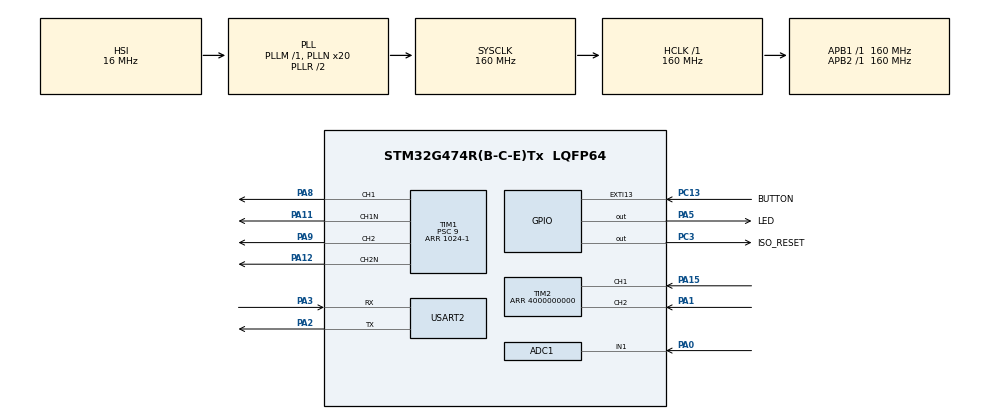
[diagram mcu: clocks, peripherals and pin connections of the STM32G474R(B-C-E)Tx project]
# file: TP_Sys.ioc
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ADC1.Channel-1\#ChannelRegularConversion=ADC_CHANNEL_1
ADC1.ContinuousConvMode=DISABLE
ADC1.DMAContinuousRequests=ENABLE
ADC1.ExternalTrigConv=ADC_EXTERNALTRIG_T1_TRGO
ADC1.NbrOfConversion=1
ADC1.NbrOfConversionFlag=1
ADC1.OffsetNumber-1\#ChannelRegularConversion=ADC_OFFSET_NONE
ADC1.Rank-1\#ChannelRegularConversion=1
ADC1.SamplingTime-1\#ChannelRegularConversion=ADC_SAMPLETIME_92CYCLES_5
ADC1.master=1
Dma.ADC1.0.Direction=DMA_PERIPH_TO_MEMORY
Dma.ADC1.0.EventEnable=DISABLE
Dma.ADC1.0.Instance=DMA1_Channel1
Dma.ADC1.0.MemDataAlignment=DMA_MDATAALIGN_HALFWORD
Dma.ADC1.0.MemInc=DMA_MINC_ENABLE
Dma.ADC1.0.Mode=DMA_CIRCULAR
Dma.ADC1.0.PeriphDataAlignment=DMA_PDATAALIGN_HALFWORD
Dma.ADC1.0.PeriphInc=DMA_PINC_DISABLE
Dma.ADC1.0.Polarity=HAL_DMAMUX_REQ_GEN_RISING
Dma.ADC1.0.Priority=DMA_PRIORITY_MEDIUM
Dma.ADC1.0.RequestNumber=1
Dma.ADC1.0.SignalID=NONE
Dma.ADC1.0.SyncEnable=DISABLE
Dma.ADC1.0.SyncPolarity=HAL_DMAMUX_SYNC_NO_EVENT
Dma.ADC1.0.SyncRequestNumber=1
Dma.ADC1.0.SyncSignalID=NONE
Dma.Request0=ADC1
Mcu.Family=STM32G4
Mcu.Name=STM32G474R(B-C-E)Tx
Mcu.Package=LQFP64
NVIC.DMA1_Channel1_IRQn=true\:0\:0\:false\:false\:true\:false\:true\:true
NVIC.EXTI15_10_IRQn=true\:0\:0\:false\:false\:true\:true\:true\:true
NVIC.PriorityGroup=NVIC_PRIORITYGROUP_4
NVIC.TIM2_IRQn=true\:0\:0\:false\:false\:true\:true\:true\:true
NVIC.TIM3_IRQn=true\:0\:0\:false\:false\:true\:true\:true\:true
NVIC.USART2_IRQn=true\:0\:0\:false\:false\:true\:true\:true\:true
PA0.Mode=IN1-Single-Ended
PA0.Signal=ADC1_IN1
PA1.Signal=S_TIM2_CH2
PA11.Mode=PWM Generation1 CH1 CH1N
PA11.Signal=TIM1_CH1N
PA12.Mode=PWM Generation2 CH2 CH2N
PA12.Signal=TIM1_CH2N
PA13.GPIO_Label=T_SWDIO
PA13.Mode=Serial_Wire
PA13.Signal=SYS_JTMS-SWDIO
PA14.GPIO_Label=T_SWCLK
PA14.Mode=Serial_Wire
PA14.Signal=SYS_JTCK-SWCLK
PA15.Signal=S_TIM2_CH1
PA2.Mode=Asynchronous
PA2.Signal=USART2_TX
PA3.Mode=Asynchronous
PA3.Signal=USART2_RX
PA5.GPIO_Label=LED
PA5.Signal=GPIO_Output
PA8.Signal=S_TIM1_CH1
PA9.Signal=S_TIM1_CH2
PC13.GPIO_Label=BUTTON
PC13.Signal=GPXTI13
PC14-OSC32_IN.Mode=LSE-External-Oscillator
PC14-OSC32_IN.Signal=RCC_OSC32_IN
PC15-OSC32_OUT.Mode=LSE-External-Oscillator
PC15-OSC32_OUT.Signal=RCC_OSC32_OUT
PC3.GPIO_Label=ISO_RESET
PC3.Signal=GPIO_Output
PF0-OSC_IN.Mode=HSE-External-Oscillator
PF0-OSC_IN.Signal=RCC_OSC_IN
PF1-OSC_OUT.Mode=HSE-External-Oscillator
PF1-OSC_OUT.Signal=RCC_OSC_OUT
ProjectManager.HeapSize=0x200
ProjectManager.StackSize=0x400
ProjectManager.TargetToolchain=STM32CubeIDE
RCC.ADC12Freq_Value=160000000
RCC.ADC345Freq_Value=160000000
RCC.AHBFreq_Value=160000000
RCC.APB1Freq_Value=160000000
RCC.APB1TimFreq_Value=160000000
RCC.APB2Freq_Value=160000000
RCC.APB2TimFreq_Value=160000000
RCC.CortexFreq_Value=160000000
RCC.EXTERNAL_CLOCK_VALUE=12288000
RCC.HCLKFreq_Value=160000000
RCC.HSE_VALUE=24000000
RCC.HSI48_VALUE=48000000
RCC.HSI_VALUE=16000000
RCC.PLLN=20
RCC.RTCClockSelection=RCC_RTCCLKSOURCE_LSE
RCC.SYSCLKFreq_VALUE=160000000
RCC.SYSCLKSource=RCC_SYSCLKSOURCE_PLLCLK
RCC.USBFreq_Value=160000000
RCC.VCOOutputFreq_Value=320000000
SH.S_TIM1_CH1.0=TIM1_CH1,PWM Generation1 CH1 CH1N
SH.S_TIM1_CH2.0=TIM1_CH2,PWM Generation2 CH2 CH2N
SH.S_TIM2_CH1.0=TIM2_CH1,Encoder_Interface
SH.S_TIM2_CH2.0=TIM2_CH2,Encoder_Interface
TIM1.AutoReloadPreload=TIM_AUTORELOAD_PRELOAD_ENABLE
TIM1.Channel-PWM\ Generation1\ CH1\ CH1N=TIM_CHANNEL_1
TIM1.Channel-PWM\ Generation2\ CH2\ CH2N=TIM_CHANNEL_2
TIM1.CounterMode=TIM_COUNTERMODE_CENTERALIGNED1
TIM1.DeadTime=200
TIM1.PeriodNoDither=1024-1
TIM1.Prescaler=9
TIM1.PulseNoDither_1=512
TIM1.PulseNoDither_2=256
TIM1.TIM_MasterOutputTrigger=TIM_TRGO_UPDATE
TIM1.TIM_MasterSlaveMode=TIM_MASTERSLAVEMODE_ENABLE
TIM2.AutoReloadPreload=TIM_AUTORELOAD_PRELOAD_ENABLE
TIM2.EncoderMode=TIM_ENCODERMODE_TI12
TIM2.IC2Polarity=TIM_ICPOLARITY_RISING
TIM2.PeriodNoDither=4000000000
TIM2.SMS_Preload_Activation=DISABLE
TIM3.PeriodNoDither=16999
TIM3.Prescaler=999
USART2.VirtualMode-Asynchronous=VM_ASYNC
VP_SYS_VS_DBSignals.Mode=DisableDeadBatterySignals
VP_TIM1_VS_ClockSourceINT.Mode=Internal
VP_TIM2_VS_OPM.Mode=OPM_bit
VP_TIM3_VS_ClockSourceINT.Mode=Internal
board=NUCLEO-G474RE

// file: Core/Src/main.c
/* USER CODE BEGIN Header */
/**
 ******************************************************************************
 * @file           : main.c
 * @brief          : Main program body
 ******************************************************************************
 * @attention
 *
 * Copyright (c) 2022 STMicroelectronics.
 * All rights reserved.
 *
 * This software is licensed under terms that can be found in the LICENSE file
 * in the root directory of this software component.
 * If no LICENSE file comes with this software, it is provided AS-IS.
 *
 ******************************************************************************
 */
/* USER CODE END Header */
#include "main.h"
#include "corrPI.h"
#include "commandeMCC.h"

/* USER CODE BEGIN Includes */
#include <stdio.h>
#include <stdlib.h>
#include <string.h>
/* USER CODE END Includes */

/* USER CODE BEGIN PD */
#define UART_TX_BUFFER_SIZE 64
#define UART_RX_BUFFER_SIZE 1
#define CMD_BUFFER_SIZE 64
#define MAX_ARGS 9
// LF = line feed, saut de ligne
#define ASCII_LF 0x0A
// CR = carriage return, retour chariot
#define ASCII_CR 0x0D
// DEL = delete
#define ASCII_DEL 0x7F
#define ARR_VAL 1024
#define ALPHA 600 /** Rapport cyclique permettant de gérer les PWM entre 0 et 1023 */
/* USER CODE END PD */

ADC_HandleTypeDef hadc1;
DMA_HandleTypeDef hdma_adc1;

TIM_HandleTypeDef htim1;
TIM_HandleTypeDef htim2;
TIM_HandleTypeDef htim3;

UART_HandleTypeDef huart2;

/* USER CODE BEGIN PV */

uint8_t adcDmaFlag = 0;
uint32_t adcRawValue[1];
uint8_t prompt[]="user@Nucleo-STM32G474>>";
uint8_t started[]=
		"\r\n*-----------------------------*"
		"\r\n| Welcome on Nucleo-STM32G474 |"
		"\r\n*-----------------------------*"
		"\r\n";
uint8_t newline[]="\r\n";
uint8_t cmdNotFound[]="Command not found\r\n";
uint32_t uartRxReceived;
uint8_t uartRxBuffer[UART_RX_BUFFER_SIZE];
uint8_t uartTxBuffer[UART_TX_BUFFER_SIZE];
uint8_t powerOn[]="Allumage du moteur\r\n";
uint8_t powerOff[]="Extinction du moteur\r\n";
int a; //alpha dans la fonction alpha*
int adcValue; /** Valeure de courant relevée après convertion en ampères*/
long vitesse;
int PIFlag;
int PIUpdateFlag;
float i_n[2]; //{i_0, i_-1}
float w_n[2]; //{w_0, w_-1}
float i_consigne;
float v_consigne;
#define KP_ALPHA 0.10	//0.0039
#define KI_ALPHA 0.8	//1.74

#define ALPHA_OUT_MAX_VALUE 0.99
#define ALPHA_OUT_MIN_VALUE 0.01

#define TIM1_PERIOD 0.0000625

// PI Vitesse
#define KP_CURRENT 0.1		//empirique0.1	//matlab0.72
#define KI_CURRENT 2.0	//empirique0.1	//matlab15.94

#define CURRENT_OUT_MAX_VALUE	2.0

#define TIM3_PERIOD 0.1
#define TIM4_PERIOD 0.0064

#define TICK2SPEED_TIM3 0.0146 // 60/4096/TimerDelay    avec TimerDelay(en sec)
#define TICK2SPEED_TIM4 (60.0/4096.0)/TIM4_PERIOD

uint16_t AD_RES = 0;
/*
const uint8_t help[] : contenant le message d'aide, la liste des fonctions
const uint8_t pinout[] : contenant la liste des pin utilisées
 */
//SHELL_____________________________________________________________________
char	 	cmdBuffer[CMD_BUFFER_SIZE];
int 		idx_cmd;
char* 		argv[MAX_ARGS];
int		 	argc = 0;
char*		token;
int 		newCmdReady = 0;
/* USER CODE END PV */

void SystemClock_Config(void);
static void MX_GPIO_Init(void);
static void MX_DMA_Init(void);
static void MX_TIM1_Init(void);
static void MX_USART2_UART_Init(void);
static void MX_ADC1_Init(void);
static void MX_TIM2_Init(void);
static void MX_TIM3_Init(void);

/* USER CODE BEGIN 0 */

// Nouvelle ligne, instruction à traiter
void newcom(void)
{
	HAL_UART_Transmit(&huart2, newline, sizeof(newline), HAL_MAX_DELAY);
	//select();
	cmdBuffer[idx_cmd] = '\0';
	argc = 0;
	token = strtok(cmdBuffer, " ");
	while(token!=NULL){
		argv[argc++] = token;
		token = strtok(NULL, " ");
	}

	idx_cmd = 0;
	newCmdReady = 1;
}

// Suppression du dernier caractère
/** Supprime le dernier caractère après avoir appuyé sur BackSpace */
void delete(void)
		{
	cmdBuffer[idx_cmd--] = '\0';
	HAL_UART_Transmit(&huart2, uartRxBuffer, UART_RX_BUFFER_SIZE, HAL_MAX_DELAY);
		}

// Nouveau caractère
/** Ecrit le caractère tapé dans la console */
void new_carac(void)
{
	cmdBuffer[idx_cmd++] = uartRxBuffer[0];
	HAL_UART_Transmit(&huart2, uartRxBuffer, UART_RX_BUFFER_SIZE, HAL_MAX_DELAY);//Echo
}

void get(void)
{
	HAL_UART_Transmit(&huart2, cmdNotFound, sizeof(cmdNotFound), HAL_MAX_DELAY);
}

void set(void)
{
	if(strcmp(argv[1],"PA5")==0)
	{
		HAL_GPIO_WritePin(LED_GPIO_Port, LED_Pin, atoi(argv[2]));
		sprintf(uartTxBuffer,"Switch on/off led : %d\r\n",atoi(argv[2]));
		HAL_UART_Transmit(&huart2, uartTxBuffer, 32, HAL_MAX_DELAY);
	}
	else{
		HAL_UART_Transmit(&huart2, cmdNotFound, sizeof(cmdNotFound), HAL_MAX_DELAY);
	}
}
/**
 * @brief Présente les fonctions et leur utilités dans la console
 *
 */
void help(void)
{
	sprintf(uartTxBuffer, "HELP : Fonctions available :\r\n");
	HAL_UART_Transmit(&huart2, uartTxBuffer, sizeof(uartTxBuffer), HAL_MAX_DELAY);
	sprintf(uartTxBuffer, "- pinout : affiche toutes les broches connectées\r\n");
	HAL_UART_Transmit(&huart2, uartTxBuffer, sizeof(uartTxBuffer), HAL_MAX_DELAY);
	sprintf(uartTxBuffer, "- start : allume l'étage de puissance du moteur\r\n");
	HAL_UART_Transmit(&huart2, uartTxBuffer, sizeof(uartTxBuffer), HAL_MAX_DELAY);
	sprintf(uartTxBuffer, "- stop : éteind l'étage de puissance du moteur\r\n");
	HAL_UART_Transmit(&huart2, uartTxBuffer, sizeof(uartTxBuffer), HAL_MAX_DELAY);
	sprintf(uartTxBuffer, "- alpha : fixe la valeur du rapport cyclique\r\n");
	HAL_UART_Transmit(&huart2, uartTxBuffer, sizeof(uartTxBuffer), HAL_MAX_DELAY);
}
/**
 * @brief Initialise le hacheur et lance les PWM avec alpha = 50%
 *
 */
void start(void)
{
	//séquence d'initialisation
	HAL_GPIO_WritePin(ISO_RESET_GPIO_Port, ISO_RESET_Pin, SET);
	HAL_Delay(10);
	HAL_GPIO_WritePin(ISO_RESET_GPIO_Port, ISO_RESET_Pin, RESET);
	//HAL_Delay(5);

	HAL_UART_Transmit(&huart2, powerOn, sizeof(powerOn), HAL_MAX_DELAY);
	HAL_TIM_Base_Start(&htim1);
	HAL_TIM_PWM_Start(&htim1, TIM_CHANNEL_1);
	HAL_TIM_PWM_Start(&htim1, TIM_CHANNEL_2);
	HAL_TIMEx_PWMN_Start(&htim1, TIM_CHANNEL_1);
	HAL_TIMEx_PWMN_Start(&htim1, TIM_CHANNEL_2);
	a = atoi(argv[1]);
	a = ARR_VAL*a/100;
	TIM1->CCR1=ARR_VAL-a;
	TIM1->CCR2=a;
}
/**
 * @brief Arrête les moteurs
 *
 */
void stop(void)
{
	HAL_UART_Transmit(&huart2, powerOff, sizeof(powerOff), HAL_MAX_DELAY);
	TIM1->CCR1 = ARR_VAL/2;
	TIM1->CCR2 = 1 - ARR_VAL/2;
	HAL_TIM_Base_Stop(&htim1);
	HAL_TIM_PWM_Stop(&htim1, TIM_CHANNEL_1);
	HAL_TIM_PWM_Stop(&htim1, TIM_CHANNEL_2);
	HAL_TIMEx_PWMN_Stop(&htim1, TIM_CHANNEL_1);
	HAL_TIMEx_PWMN_Stop(&htim1, TIM_CHANNEL_2);
	HAL_Delay(5);
	HAL_GPIO_WritePin(ISO_RESET_GPIO_Port, ISO_RESET_Pin, RESET);
}
/**
 * @brief Règle le rapport cyclique des PWM, avec une valeur entre 0 et 100%
 *
 */
void speed(void)
{
	a = atoi(argv[1]);
	a = ARR_VAL*a/100;
	TIM1->CCR1=ARR_VAL-a;
	TIM1->CCR2=a;
}

void changeSpeed(int a)
{
	a = ARR_VAL*a/100;
	TIM1->CCR1=ARR_VAL-a;
	TIM1->CCR2=a;
}

/**
 * @brief Permet de réinitialiser le flag adcDmaFlag après l'éxecution automatique de l'interruption dans le shell
 *
 * @param hadc
 */
void HAL_ADC_ConvCpltCallback(ADC_HandleTypeDef* hadc)
{
	adcDmaFlag = 1;
}

/* USER CODE END 0 */

/**
  * @brief  Lance le Shell et initialise les périphériques
  *
  */
int main(void)
{
  /* USER CODE BEGIN 1 */

	/* Correcteur pour vitesse */
	PIController alphaPI;
	PIController_Init(&alphaPI);

	  alphaPI.Kp = KP_ALPHA;
	  alphaPI.Ki = KI_ALPHA;

	  alphaPI.T = TIM3_PERIOD;

	  alphaPI.integrator = 0.5;

	  alphaPI.limMax_integrator = ALPHA_OUT_MAX_VALUE;
	  alphaPI.limMin_integrator = ALPHA_OUT_MIN_VALUE;

	  alphaPI.limMax_output = ALPHA_OUT_MAX_VALUE;
	  alphaPI.limMin_output = ALPHA_OUT_MIN_VALUE;

	  /* Correcteur pour courant */
	  PIController currentPI;
	  PIController_Init(&currentPI);

	   currentPI.Kp = KP_CURRENT;
	   currentPI.Ki = KI_CURRENT;

	   currentPI.T = TIM3_PERIOD;

	   currentPI.limMax_integrator = CURRENT_OUT_MAX_VALUE;
	   currentPI.limMin_integrator = -CURRENT_OUT_MAX_VALUE;

	   currentPI.limMax_output = CURRENT_OUT_MAX_VALUE;
	   currentPI.limMin_output = -CURRENT_OUT_MAX_VALUE;
  /* USER CODE END 1 */

  /* MCU Configuration--------------------------------------------------------*/

  /* Reset of all peripherals, Initializes the Flash interface and the Systick. */
  HAL_Init();

  /* Configure the system clock */
  SystemClock_Config();

  /* Initialize all configured peripherals */
  MX_GPIO_Init();
  MX_DMA_Init();
  MX_TIM1_Init();
  MX_USART2_UART_Init();
  MX_ADC1_Init();
  MX_TIM2_Init();
  MX_TIM3_Init();
  /* USER CODE BEGIN 2 */
  	HAL_TIM_Base_Start_IT(&htim3);
  	HAL_TIM_Base_Start(&htim2);
  	HAL_TIM_Encoder_Start(&htim2, TIM_CHANNEL_ALL);
	memset(argv,NULL,MAX_ARGS*sizeof(char*));
	memset(cmdBuffer,NULL,CMD_BUFFER_SIZE*sizeof(char));
	memset(uartRxBuffer,NULL,UART_RX_BUFFER_SIZE*sizeof(char));
	memset(uartTxBuffer,NULL,UART_TX_BUFFER_SIZE*sizeof(char));
	HAL_ADCEx_Calibration_Start(&hadc1, ADC_SINGLE_ENDED);
	HAL_ADC_Start_DMA(&hadc1, adcRawValue, 1);
	HAL_UART_Receive_IT(&huart2, uartRxBuffer, UART_RX_BUFFER_SIZE);
	HAL_Delay(10);
	HAL_UART_Transmit(&huart2, started, sizeof(started), HAL_MAX_DELAY);
	HAL_UART_Transmit(&huart2, prompt, sizeof(prompt), HAL_MAX_DELAY);

  /* USER CODE END 2 */

  /* Infinite loop */
  /* USER CODE BEGIN WHILE */
	while (1)
	{

		// uartRxReceived is set to 1 when a new character is received on uart 1
		if(uartRxReceived){
			switch(uartRxBuffer[0]){
			// Nouvelle ligne, instruction à traiter
			case ASCII_CR:
				newcom();
				break;
				// Suppression du dernier caractère
			case ASCII_DEL:
				delete();
				break;
				// Nouveau caractère
			default:
				new_carac();
			}
			uartRxReceived = 0;
		}

		if(newCmdReady){
			if(strcmp(argv[0],"set")==0){
				set();
			}
			else if(strcmp(argv[0],"get")==0)
			{
				get();
			}
			else if(strcmp(argv[0],"help")==0)
			{
				help();
			}
			else if(strcmp(argv[0],"start")==0)
			{
				start();
			}
			else if(strcmp(argv[0],"stop")==0)
			{
				stop();
			}
			else if(strcmp(argv[0],"speed")==0)
			{
				speed();
			}
			else{
				HAL_UART_Transmit(&huart2, cmdNotFound, sizeof(cmdNotFound), HAL_MAX_DELAY);
			}
			HAL_UART_Transmit(&huart2, prompt, sizeof(prompt), HAL_MAX_DELAY);
			newCmdReady = 0;
			memset(cmdBuffer,NULL,CMD_BUFFER_SIZE*sizeof(char));
		}

		if(PIUpdateFlag){/* Permet d'afficher la vitesse et le courant lorsque l'adc/dma ont finit leur mesure */
			vitesse = (TIM2->CNT)-(TIM2->ARR/2);
			TIM2->CNT = TIM2->ARR/2;
			adcValue = 12*(2.51-((((float)adcRawValue[0])*3.3/4096))); /* Calcul pour convertir la valeur binaire de l'adc en amperes */
			vitesse = (float)vitesse/10.55; /* Calcul pour convertir la valeur en ticks de la vitesse en tours/minutes */

			if(PIFlag){
				PIController_Update(&alphaPI, i_consigne, adcValue);
				changeSpeed((int)(alphaPI.out*100));
				PIFlag = 0;
			}
			else{
				if(!PIFlag){
					PIController_Update(&currentPI, v_consigne, vitesse);
					i_consigne = currentPI.out;
					PIFlag = 1;
				}
			}
			PIUpdateFlag = 0;
		}

    /* USER CODE END WHILE */

	}
}

void SystemClock_Config(void)
{
  RCC_OscInitTypeDef RCC_OscInitStruct = {0};
  RCC_ClkInitTypeDef RCC_ClkInitStruct = {0};

  /** Configure the main internal regulator output voltage
  */
  HAL_PWREx_ControlVoltageScaling(PWR_REGULATOR_VOLTAGE_SCALE1_BOOST);

  /** Initializes the RCC Oscillators according to the specified parameters
  * in the RCC_OscInitTypeDef structure.
  */
  RCC_OscInitStruct.OscillatorType = RCC_OSCILLATORTYPE_HSI;
  RCC_OscInitStruct.HSIState = RCC_HSI_ON;
  RCC_OscInitStruct.HSICalibrationValue = RCC_HSICALIBRATION_DEFAULT;
  RCC_OscInitStruct.PLL.PLLState = RCC_PLL_ON;
  RCC_OscInitStruct.PLL.PLLSource = RCC_PLLSOURCE_HSI;
  RCC_OscInitStruct.PLL.PLLM = RCC_PLLM_DIV1;
  RCC_OscInitStruct.PLL.PLLN = 20;
  RCC_OscInitStruct.PLL.PLLP = RCC_PLLP_DIV2;
  RCC_OscInitStruct.PLL.PLLQ = RCC_PLLQ_DIV2;
  RCC_OscInitStruct.PLL.PLLR = RCC_PLLR_DIV2;
  if (HAL_RCC_OscConfig(&RCC_OscInitStruct) != HAL_OK)
  {
    Error_Handler();
  }

  /** Initializes the CPU, AHB and APB buses clocks
  */
  RCC_ClkInitStruct.ClockType = RCC_CLOCKTYPE_HCLK|RCC_CLOCKTYPE_SYSCLK
                              |RCC_CLOCKTYPE_PCLK1|RCC_CLOCKTYPE_PCLK2;
  RCC_ClkInitStruct.SYSCLKSource = RCC_SYSCLKSOURCE_PLLCLK;
  RCC_ClkInitStruct.AHBCLKDivider = RCC_SYSCLK_DIV1;
  RCC_ClkInitStruct.APB1CLKDivider = RCC_HCLK_DIV1;
  RCC_ClkInitStruct.APB2CLKDivider = RCC_HCLK_DIV1;

  if (HAL_RCC_ClockConfig(&RCC_ClkInitStruct, FLASH_LATENCY_4) != HAL_OK)
  {
    Error_Handler();
  }
}

static void MX_ADC1_Init(void)
{

  ADC_MultiModeTypeDef multimode = {0};
  ADC_ChannelConfTypeDef sConfig = {0};

  /** Common config
  */
  hadc1.Instance = ADC1;
  hadc1.Init.ClockPrescaler = ADC_CLOCK_SYNC_PCLK_DIV4;
  hadc1.Init.Resolution = ADC_RESOLUTION_12B;
  hadc1.Init.DataAlign = ADC_DATAALIGN_RIGHT;
  hadc1.Init.GainCompensation = 0;
  hadc1.Init.ScanConvMode = ADC_SCAN_DISABLE;
  hadc1.Init.EOCSelection = ADC_EOC_SINGLE_CONV;
  hadc1.Init.LowPowerAutoWait = DISABLE;
  hadc1.Init.ContinuousConvMode = DISABLE;
  hadc1.Init.NbrOfConversion = 1;
  hadc1.Init.DiscontinuousConvMode = DISABLE;
  hadc1.Init.ExternalTrigConv = ADC_EXTERNALTRIG_T1_TRGO;
  hadc1.Init.ExternalTrigConvEdge = ADC_EXTERNALTRIGCONVEDGE_RISING;
  hadc1.Init.DMAContinuousRequests = ENABLE;
  hadc1.Init.Overrun = ADC_OVR_DATA_PRESERVED;
  hadc1.Init.OversamplingMode = DISABLE;
  if (HAL_ADC_Init(&hadc1) != HAL_OK)
  {
    Error_Handler();
  }

  /** Configure the ADC multi-mode
  */
  multimode.Mode = ADC_MODE_INDEPENDENT;
  if (HAL_ADCEx_MultiModeConfigChannel(&hadc1, &multimode) != HAL_OK)
  {
    Error_Handler();
  }

  /** Configure Regular Channel
  */
  sConfig.Channel = ADC_CHANNEL_1;
  sConfig.Rank = ADC_REGULAR_RANK_1;
  sConfig.SamplingTime = ADC_SAMPLETIME_92CYCLES_5;
  sConfig.SingleDiff = ADC_SINGLE_ENDED;
  sConfig.OffsetNumber = ADC_OFFSET_NONE;
  sConfig.Offset = 0;
  if (HAL_ADC_ConfigChannel(&hadc1, &sConfig) != HAL_OK)
  {
    Error_Handler();
  }

}

static void MX_TIM1_Init(void)
{

  TIM_ClockConfigTypeDef sClockSourceConfig = {0};
  TIM_MasterConfigTypeDef sMasterConfig = {0};
  TIM_OC_InitTypeDef sConfigOC = {0};
  TIM_BreakDeadTimeConfigTypeDef sBreakDeadTimeConfig = {0};

  htim1.Instance = TIM1;
  htim1.Init.Prescaler = 9;
  htim1.Init.CounterMode = TIM_COUNTERMODE_CENTERALIGNED1;
  htim1.Init.Period = 1023;
  htim1.Init.ClockDivision = TIM_CLOCKDIVISION_DIV1;
  htim1.Init.RepetitionCounter = 0;
  htim1.Init.AutoReloadPreload = TIM_AUTORELOAD_PRELOAD_ENABLE;
  if (HAL_TIM_Base_Init(&htim1) != HAL_OK)
  {
    Error_Handler();
  }
  sClockSourceConfig.ClockSource = TIM_CLOCKSOURCE_INTERNAL;
  if (HAL_TIM_ConfigClockSource(&htim1, &sClockSourceConfig) != HAL_OK)
  {
    Error_Handler();
  }
  if (HAL_TIM_PWM_Init(&htim1) != HAL_OK)
  {
    Error_Handler();
  }
  sMasterConfig.MasterOutputTrigger = TIM_TRGO_UPDATE;
  sMasterConfig.MasterOutputTrigger2 = TIM_TRGO2_RESET;
  sMasterConfig.MasterSlaveMode = TIM_MASTERSLAVEMODE_ENABLE;
  if (HAL_TIMEx_MasterConfigSynchronization(&htim1, &sMasterConfig) != HAL_OK)
  {
    Error_Handler();
  }
  sConfigOC.OCMode = TIM_OCMODE_PWM1;
  sConfigOC.Pulse = 512;
  sConfigOC.OCPolarity = TIM_OCPOLARITY_HIGH;
  sConfigOC.OCNPolarity = TIM_OCNPOLARITY_HIGH;
  sConfigOC.OCFastMode = TIM_OCFAST_DISABLE;
  sConfigOC.OCIdleState = TIM_OCIDLESTATE_RESET;
  sConfigOC.OCNIdleState = TIM_OCNIDLESTATE_RESET;
  if (HAL_TIM_PWM_ConfigChannel(&htim1, &sConfigOC, TIM_CHANNEL_1) != HAL_OK)
  {
    Error_Handler();
  }
  sConfigOC.Pulse = 256;
  if (HAL_TIM_PWM_ConfigChannel(&htim1, &sConfigOC, TIM_CHANNEL_2) != HAL_OK)
  {
    Error_Handler();
  }
  sBreakDeadTimeConfig.OffStateRunMode = TIM_OSSR_DISABLE;
  sBreakDeadTimeConfig.OffStateIDLEMode = TIM_OSSI_DISABLE;
  sBreakDeadTimeConfig.LockLevel = TIM_LOCKLEVEL_OFF;
  sBreakDeadTimeConfig.DeadTime = 200;
  sBreakDeadTimeConfig.BreakState = TIM_BREAK_DISABLE;
  sBreakDeadTimeConfig.BreakPolarity = TIM_BREAKPOLARITY_HIGH;
  sBreakDeadTimeConfig.BreakFilter = 0;
  sBreakDeadTimeConfig.BreakAFMode = TIM_BREAK_AFMODE_INPUT;
  sBreakDeadTimeConfig.Break2State = TIM_BREAK2_DISABLE;
  sBreakDeadTimeConfig.Break2Polarity = TIM_BREAK2POLARITY_HIGH;
  sBreakDeadTimeConfig.Break2Filter = 0;
  sBreakDeadTimeConfig.Break2AFMode = TIM_BREAK_AFMODE_INPUT;
  sBreakDeadTimeConfig.AutomaticOutput = TIM_AUTOMATICOUTPUT_DISABLE;
  if (HAL_TIMEx_ConfigBreakDeadTime(&htim1, &sBreakDeadTimeConfig) != HAL_OK)
  {
    Error_Handler();
  }
  HAL_TIM_MspPostInit(&htim1);

}

static void MX_TIM2_Init(void)
{

  TIM_Encoder_InitTypeDef sConfig = {0};
  TIM_MasterConfigTypeDef sMasterConfig = {0};

  htim2.Instance = TIM2;
  htim2.Init.Prescaler = 0;
  htim2.Init.CounterMode = TIM_COUNTERMODE_UP;
  htim2.Init.Period = 4.0E9;
  htim2.Init.ClockDivision = TIM_CLOCKDIVISION_DIV1;
  htim2.Init.AutoReloadPreload = TIM_AUTORELOAD_PRELOAD_ENABLE;
  sConfig.EncoderMode = TIM_ENCODERMODE_TI12;
  sConfig.IC1Polarity = TIM_ICPOLARITY_RISING;
  sConfig.IC1Selection = TIM_ICSELECTION_DIRECTTI;
  sConfig.IC1Prescaler = TIM_ICPSC_DIV1;
  sConfig.IC1Filter = 0;
  sConfig.IC2Polarity = TIM_ICPOLARITY_RISING;
  sConfig.IC2Selection = TIM_ICSELECTION_DIRECTTI;
  sConfig.IC2Prescaler = TIM_ICPSC_DIV1;
  sConfig.IC2Filter = 0;
  if (HAL_TIM_Encoder_Init(&htim2, &sConfig) != HAL_OK)
  {
    Error_Handler();
  }
  if (HAL_TIM_OnePulse_Init(&htim2, TIM_OPMODE_SINGLE) != HAL_OK)
  {
    Error_Handler();
  }
  sMasterConfig.MasterOutputTrigger = TIM_TRGO_RESET;
  sMasterConfig.MasterSlaveMode = TIM_MASTERSLAVEMODE_DISABLE;
  if (HAL_TIMEx_MasterConfigSynchronization(&htim2, &sMasterConfig) != HAL_OK)
  {
    Error_Handler();
  }

}

static void MX_TIM3_Init(void)
{

  TIM_ClockConfigTypeDef sClockSourceConfig = {0};
  TIM_MasterConfigTypeDef sMasterConfig = {0};

  htim3.Instance = TIM3;
  htim3.Init.Prescaler = 999;
  htim3.Init.CounterMode = TIM_COUNTERMODE_UP;
  htim3.Init.Period = 15999;
  htim3.Init.ClockDivision = TIM_CLOCKDIVISION_DIV1;
  htim3.Init.AutoReloadPreload = TIM_AUTORELOAD_PRELOAD_DISABLE;
  if (HAL_TIM_Base_Init(&htim3) != HAL_OK)
  {
    Error_Handler();
  }
  sClockSourceConfig.ClockSource = TIM_CLOCKSOURCE_INTERNAL;
  if (HAL_TIM_ConfigClockSource(&htim3, &sClockSourceConfig) != HAL_OK)
  {
    Error_Handler();
  }
  sMasterConfig.MasterOutputTrigger = TIM_TRGO_RESET;
  sMasterConfig.MasterSlaveMode = TIM_MASTERSLAVEMODE_DISABLE;
  if (HAL_TIMEx_MasterConfigSynchronization(&htim3, &sMasterConfig) != HAL_OK)
  {
    Error_Handler();
  }

}

static void MX_USART2_UART_Init(void)
{

  huart2.Instance = USART2;
  huart2.Init.BaudRate = 115200;
  huart2.Init.WordLength = UART_WORDLENGTH_8B;
  huart2.Init.StopBits = UART_STOPBITS_1;
  huart2.Init.Parity = UART_PARITY_NONE;
  huart2.Init.Mode = UART_MODE_TX_RX;
  huart2.Init.HwFlowCtl = UART_HWCONTROL_NONE;
  huart2.Init.OverSampling = UART_OVERSAMPLING_16;
  huart2.Init.OneBitSampling = UART_ONE_BIT_SAMPLE_DISABLE;
  huart2.Init.ClockPrescaler = UART_PRESCALER_DIV1;
  huart2.AdvancedInit.AdvFeatureInit = UART_ADVFEATURE_NO_INIT;
  if (HAL_UART_Init(&huart2) != HAL_OK)
  {
    Error_Handler();
  }
  if (HAL_UARTEx_SetTxFifoThreshold(&huart2, UART_TXFIFO_THRESHOLD_1_8) != HAL_OK)
  {
    Error_Handler();
  }
  if (HAL_UARTEx_SetRxFifoThreshold(&huart2, UART_RXFIFO_THRESHOLD_1_8) != HAL_OK)
  {
    Error_Handler();
  }
  if (HAL_UARTEx_DisableFifoMode(&huart2) != HAL_OK)
  {
    Error_Handler();
  }

}

static void MX_DMA_Init(void)
{

  /* DMA controller clock enable */
  __HAL_RCC_DMAMUX1_CLK_ENABLE();
  __HAL_RCC_DMA1_CLK_ENABLE();

  /* DMA interrupt init */
  /* DMA1_Channel1_IRQn interrupt configuration */
  HAL_NVIC_SetPriority(DMA1_Channel1_IRQn, 0, 0);
  HAL_NVIC_EnableIRQ(DMA1_Channel1_IRQn);

}

static void MX_GPIO_Init(void)
{
  GPIO_InitTypeDef GPIO_InitStruct = {0};

  /* GPIO Ports Clock Enable */
  __HAL_RCC_GPIOC_CLK_ENABLE();
  __HAL_RCC_GPIOF_CLK_ENABLE();
  __HAL_RCC_GPIOA_CLK_ENABLE();

  /*Configure GPIO pin Output Level */
  HAL_GPIO_WritePin(ISO_RESET_GPIO_Port, ISO_RESET_Pin, GPIO_PIN_RESET);

  /*Configure GPIO pin Output Level */
  HAL_GPIO_WritePin(LED_GPIO_Port, LED_Pin, GPIO_PIN_RESET);

  /*Configure GPIO pin : BUTTON_Pin */
  GPIO_InitStruct.Pin = BUTTON_Pin;
  GPIO_InitStruct.Mode = GPIO_MODE_IT_RISING;
  GPIO_InitStruct.Pull = GPIO_NOPULL;
  HAL_GPIO_Init(BUTTON_GPIO_Port, &GPIO_InitStruct);

  /*Configure GPIO pin : ISO_RESET_Pin */
  GPIO_InitStruct.Pin = ISO_RESET_Pin;
  GPIO_InitStruct.Mode = GPIO_MODE_OUTPUT_PP;
  GPIO_InitStruct.Pull = GPIO_NOPULL;
  GPIO_InitStruct.Speed = GPIO_SPEED_FREQ_LOW;
  HAL_GPIO_Init(ISO_RESET_GPIO_Port, &GPIO_InitStruct);

  /*Configure GPIO pin : LED_Pin */
  GPIO_InitStruct.Pin = LED_Pin;
  GPIO_InitStruct.Mode = GPIO_MODE_OUTPUT_PP;
  GPIO_InitStruct.Pull = GPIO_NOPULL;
  GPIO_InitStruct.Speed = GPIO_SPEED_FREQ_LOW;
  HAL_GPIO_Init(LED_GPIO_Port, &GPIO_InitStruct);

  /* EXTI interrupt init*/
  HAL_NVIC_SetPriority(EXTI15_10_IRQn, 0, 0);
  HAL_NVIC_EnableIRQ(EXTI15_10_IRQn);

}

/* USER CODE BEGIN 4 */
void HAL_UART_RxCpltCallback (UART_HandleTypeDef * huart){
	uartRxReceived = 1;
	HAL_UART_Receive_IT(&huart2, uartRxBuffer, UART_RX_BUFFER_SIZE);
}
/* USER CODE END 4 */

void Error_Handler(void)
{
	__disable_irq();
	while (1)
	{
	}
}
